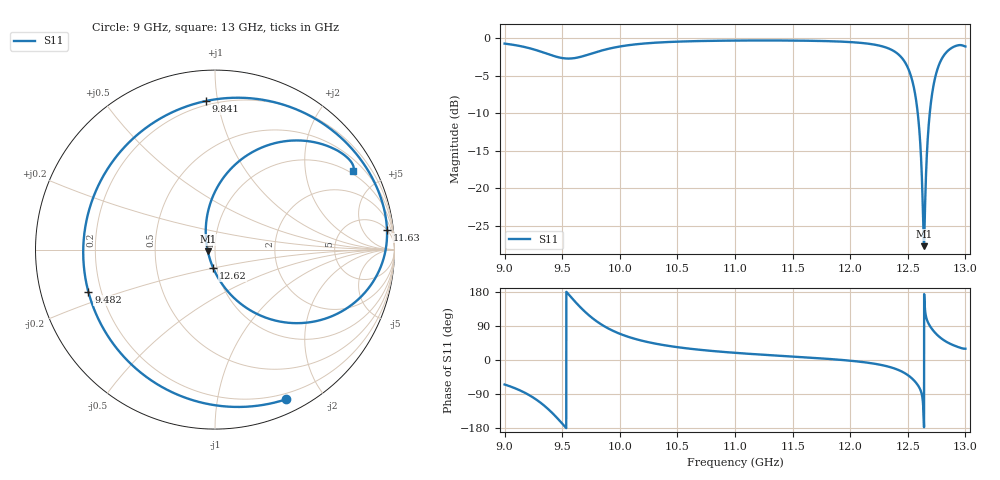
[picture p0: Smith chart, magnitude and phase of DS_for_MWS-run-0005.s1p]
! TOUCHSTONE file generated by CST DESIGN STUDIO
! Date and time: Tue Feb  4 13:02:19 2025
! Project name: C:\Work\MatlabApps\UnitCellOptimizationMatlab\CST\unitcell.cst
! Tree item: Tasks\Sweep1\SPara1\S-Parameters
! Header version: 2024
! Port assignment regex: !\s*Touchstone port\s*([0-9]+)\s*=\s*(CST MWS port|CST DES external port|CST DES block port)\s*(.+)\s* \(\"(.*)\"\)(\s*mode\s*([0-9]+))?.*
! Touchstone port assignment:
! Touchstone port 1 = CST DES external port 1 ("")
# GHz S MA R 50
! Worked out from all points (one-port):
!   4001 points, 9 GHz to 13 GHz, reference 50 ohm
!   lowest |S11| = -27.7 dB at 12.64 GHz (marker M1), VSWR 1.09, Z = 46.1 - j0.776 ohm
!   |S11| at or under -10 dB: 12.59 GHz to 12.69 GHz (103.9 MHz wide, 0.822 % of centre)
!   S11 on the Smith chart (normalised r, x): 9 GHz: 0.14, -1.57; 9.482 GHz: 0.15, -0.16; 9.841 GHz: 0.17, +0.92; 11.63 GHz: 5, +16; 12.62 GHz: 0.96, -0.20; 13 GHz: 0.89, +3.55
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9  0.9231 -64.7
9.163  0.8797 -84.5
9.278  0.8333 -105.1
9.379  0.7848 -129.8
9.482  0.7437 -161.6
9.5  0.7393 -167.7
9.585  0.7353 163.0
9.682  0.7614 131.9
9.841  0.8293 93.6
10  0.8829 69.2
10.216  0.925 49.2
10.5  0.9512 33.9
11  0.9672 18.9
11.5  0.9672 9.1
11.63  0.9647 6.6
12  0.945 -1.8
12.325  0.8618 -17.0
12.5  0.6385 -39.8
12.582  0.3393 -64.1
12.605  0.2173 -75.8
12.625  0.1026 -95.8
12.64  0.0411 -168.2
12.652  0.08721 125.7
12.672  0.2072 101.4
12.69  0.3135 90.8
12.744  0.5742 69.6
12.872  0.8552 42.2
13  0.8834 29.8
